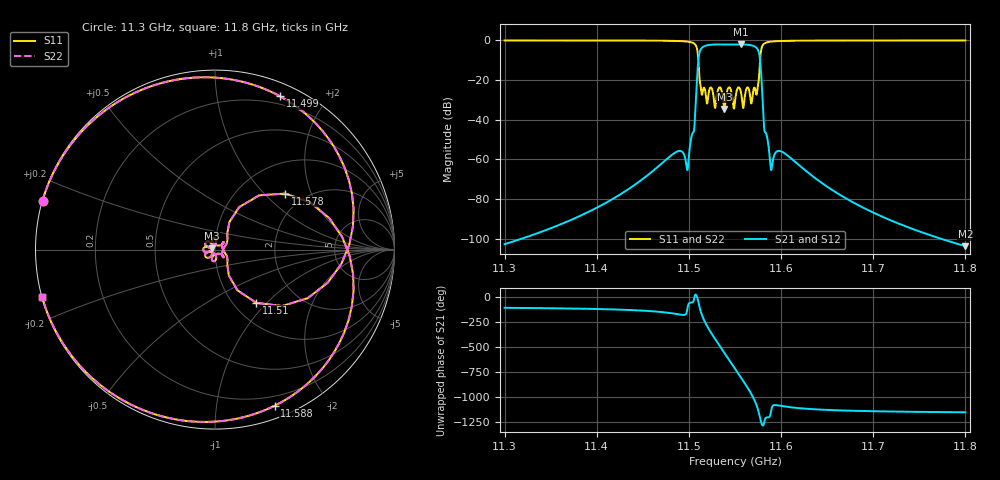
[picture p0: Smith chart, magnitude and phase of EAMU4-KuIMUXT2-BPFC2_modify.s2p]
! Created with skrf (http://scikit-rf.org).
! Parameters = {f0=11543.4; bw=65; Q=6000; N=10; m_0_1=1.0204145908355713; m_1_1=0.0010000000474974513; m_1_2=0.8394728302955627; m_2_2=0.0010000000474974513; m_2_3=0.5890347361564636; m_2_8=9.999999974752427e-07; m_2_9=0.01657004840672016; m_3_3=0.0010000000474974513; m_3_4=0.5428118109703064; m_3_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
# MHz S RI R 50.0
!freq ReS11 ImS11 ReS21 ImS21 ReS12 ImS12 ReS22 ImS22
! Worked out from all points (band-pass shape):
!   1001 points, 11.3 GHz to 11.8 GHz, reference 50 ohm
!   highest |S21| = -2.01 dB at 11.556 GHz (marker M1); lowest = -103.7 dB at 11.8 GHz (marker M2)
!   |S21| within 3 dB of the highest: 11.512 GHz to 11.575 GHz (62.86 MHz wide, 0.545 % of centre)
!   lowest |S11| = -34.5 dB at 11.539 GHz (marker M3), VSWR 1.04, Z = 48.3 + j0.623 ohm
!   |S11| at or under -10 dB: 11.51 GHz to 11.577 GHz (66.98 MHz wide, 0.58 % of centre)
!   |S22| runs from -34.5 to 0.0 dB; largest |S21 - S12| = 0
!   S11 on the Smith chart (normalised r, x): 11.3 GHz: 0.00, +0.14; 11.499 GHz: 0.12, +1.50; 11.51 GHz: 1.26, -0.87; 11.578 GHz: 1.60, +1.33; 11.588 GHz: 0.11, -1.45; 11.8 GHz: 0.00, -0.14
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11300  -0.961 0.2726  -2.11e-06 -7.02e-06  -2.11e-06 -7.02e-06  -0.961 0.2726
11383.5  -0.9084 0.4118  -1.71e-05 -3.56e-05  -1.71e-05 -3.56e-05  -0.9084 0.4118
11467  -0.5816 0.797  -0.000563 -0.000374  -0.000563 -0.000374  -0.5816 0.797
11499.5  0.3619 0.8546  0.000302 -0.000872  0.000302 -0.000872  0.3619 0.8546
11510  0.2302 -0.2968  0.22 -0.1701  0.22 -0.1701  0.2302 -0.2968
11515  0.0402 0.0337  -0.6387 0.2333  -0.6387 0.2333  0.0402 0.0337
11519  0.0211 0.0224  0.1048 0.7406  0.1048 0.7406  0.0211 0.0224
11525  0.0026 0.06  0.7687 -0.1523  0.7687 -0.1523  0.0026 0.06
11531.5  -0.0516 0.0217  -0.163 -0.7762  -0.163 -0.7762  -0.0516 0.0217
11538.5  -0.0177 0.00645  -0.7532 0.2449  -0.7532 0.2449  -0.0177 0.00645
11544  -0.0652 0.00333  0.0629 0.7867  0.0629 0.7867  -0.0652 0.00333
11550  -0.0168 -0.024  0.792 0.0281  0.792 0.0281  -0.0168 -0.024
11556.5  -0.0458 -0.0162  0.0424 -0.7921  0.0424 -0.7921  -0.0458 -0.0162
11562.5  0.00168 -0.061  -0.7727 -0.1279  -0.7727 -0.1279  0.00168 -0.061
11568  0.0131 -0.0229  -0.1921 0.727  -0.1921 0.727  0.0131 -0.0229
11572.5  0.0398 -0.032  0.6441 0.211  0.6441 0.211  0.0398 -0.032
11578  0.3911 0.3124  -0.1826 -0.0545  -0.1826 -0.0545  0.3911 0.3124
11582.5  0.7205 -0.4604  -0.00384 -0.00301  -0.00384 -0.00301  0.7205 -0.4604
11588.5  0.3316 -0.8703  -5.84e-05 -0.00068  -5.84e-05 -0.00068  0.3316 -0.8703
11633.5  -0.6947 -0.7062  0.000289 -0.000262  0.000289 -0.000262  -0.6947 -0.7062
11717  -0.9196 -0.387  1.25e-05 -2.79e-05  1.25e-05 -2.79e-05  -0.9196 -0.387
11800  -0.9632 -0.265  1.83e-06 -6.27e-06  1.83e-06 -6.27e-06  -0.9632 -0.265
